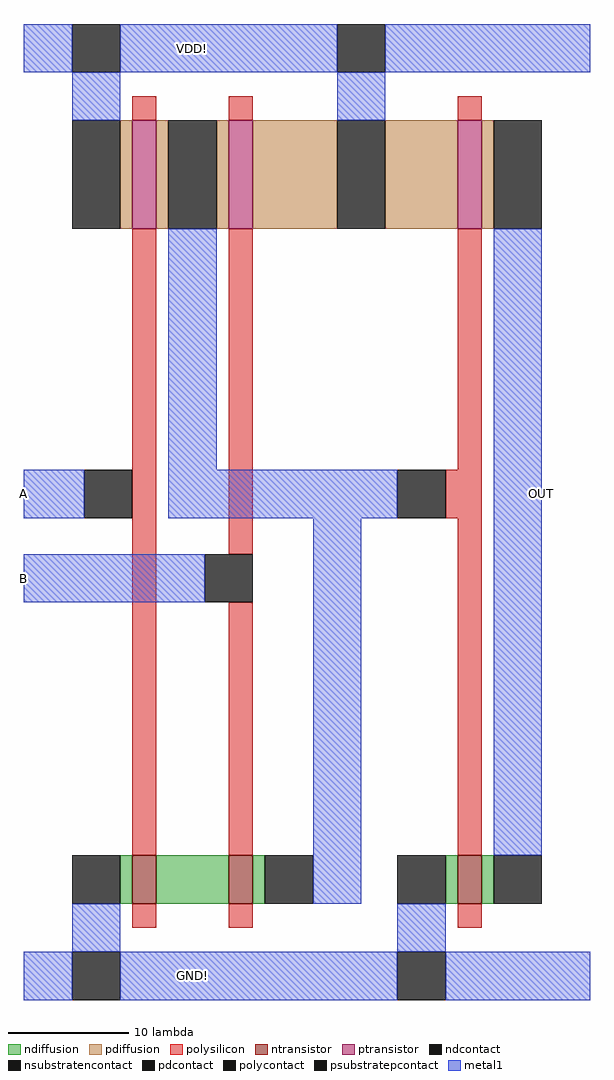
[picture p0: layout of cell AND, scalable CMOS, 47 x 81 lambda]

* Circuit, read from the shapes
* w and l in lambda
.subckt AND A B GND! OUT VDD!
M1 n1 A GND! GND! nfet w=4 l=2
M2 n2 B n1 GND! nfet w=4 l=2
M3 OUT n2 GND! GND! nfet w=4 l=2
M4 n2 A VDD! VDD! pfet w=9 l=2
M5 VDD! B n2 VDD! pfet w=9 l=2
M6 OUT n2 VDD! VDD! pfet w=9 l=2
.ends

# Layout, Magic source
magic
tech scmos
<< ntransistor >>
rect 43 -13 45 -9
rect 51 -13 53 -9
rect 70 -13 72 -9
<< ptransistor >>
rect 43 43 45 52
rect 51 43 53 52
rect 70 43 72 52
<< ndiffusion >>
rect 42 -13 43 -9
rect 45 -13 51 -9
rect 53 -13 54 -9
rect 69 -13 70 -9
rect 72 -13 73 -9
<< pdiffusion >>
rect 42 43 43 52
rect 45 43 46 52
rect 50 43 51 52
rect 53 43 60 52
rect 64 43 70 52
rect 72 43 73 52
<< ndcontact >>
rect 38 -13 42 -9
rect 54 -13 58 -9
rect 65 -13 69 -9
rect 73 -13 77 -9
<< pdcontact >>
rect 38 43 42 52
rect 46 43 50 52
rect 60 43 64 52
rect 73 43 77 52
<< psubstratepcontact >>
rect 38 -21 42 -17
rect 65 -21 69 -17
<< nsubstratencontact >>
rect 38 56 42 60
rect 60 56 64 60
<< polysilicon >>
rect 43 52 45 54
rect 51 52 53 54
rect 70 52 72 54
rect 43 -9 45 43
rect 51 16 53 43
rect 70 23 72 43
rect 69 19 72 23
rect 51 -9 53 12
rect 70 -9 72 19
rect 43 -15 45 -13
rect 51 -15 53 -13
rect 70 -15 72 -13
<< polycontact >>
rect 39 19 43 23
rect 65 19 69 23
rect 49 12 53 16
<< metal1 >>
rect 34 56 38 60
rect 42 56 60 60
rect 64 56 81 60
rect 38 52 42 56
rect 60 52 64 56
rect 46 23 50 43
rect 34 19 39 23
rect 46 19 65 23
rect 34 12 49 16
rect 58 -13 62 19
rect 73 -9 77 43
rect 38 -17 42 -13
rect 65 -17 69 -13
rect 34 -21 38 -17
rect 42 -21 65 -17
rect 69 -21 81 -17
<< labels >>
rlabel metal1 48 -19 48 -19 1 GND!
rlabel metal1 34 19 34 23 3 A
rlabel metal1 34 12 34 16 3 B
rlabel metal1 77 19 77 23 7 OUT
rlabel metal1 48 58 48 58 5 VDD!
<< end >>
